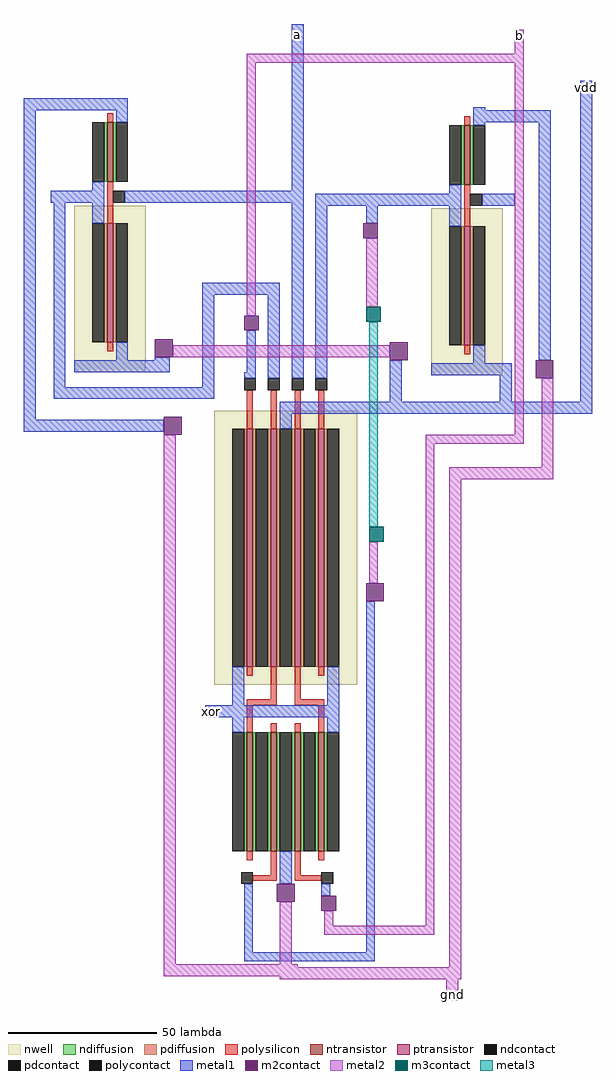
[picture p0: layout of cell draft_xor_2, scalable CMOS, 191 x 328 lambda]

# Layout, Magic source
magic
tech scmos
<< nwell >>
rect -58 480 -34 536
rect 62 479 86 535
rect -11 375 37 467
<< ntransistor >>
rect -47 544 -45 564
rect 73 543 75 563
rect 0 319 2 359
rect 8 319 10 359
rect 16 319 18 359
rect 24 319 26 359
<< ptransistor >>
rect -47 490 -45 530
rect 73 489 75 529
rect 0 381 2 461
rect 8 381 10 461
rect 16 381 18 461
rect 24 381 26 461
<< ndiffusion >>
rect -48 544 -47 564
rect -45 544 -44 564
rect 72 543 73 563
rect 75 543 76 563
rect -1 319 0 359
rect 2 319 3 359
rect 7 319 8 359
rect 10 319 11 359
rect 15 319 16 359
rect 18 319 19 359
rect 23 319 24 359
rect 26 319 27 359
<< pdiffusion >>
rect -48 490 -47 530
rect -45 490 -44 530
rect 72 489 73 529
rect 75 489 76 529
rect -1 381 0 461
rect 2 381 3 461
rect 7 381 8 461
rect 10 381 11 461
rect 15 381 16 461
rect 18 381 19 461
rect 23 381 24 461
rect 26 381 27 461
<< ndcontact >>
rect -52 544 -48 564
rect -44 544 -40 564
rect 68 543 72 563
rect 76 543 80 563
rect -5 319 -1 359
rect 3 319 7 359
rect 11 319 15 359
rect 19 319 23 359
rect 27 319 31 359
<< pdcontact >>
rect -52 490 -48 530
rect -44 490 -40 530
rect 68 489 72 529
rect 76 489 80 529
rect -5 381 -1 461
rect 3 381 7 461
rect 11 381 15 461
rect 19 381 23 461
rect 27 381 31 461
<< polysilicon >>
rect -47 564 -45 567
rect 73 563 75 566
rect -47 530 -45 544
rect 73 529 75 543
rect -47 487 -45 490
rect 73 486 75 489
rect 0 461 2 474
rect 8 461 10 474
rect 16 461 18 474
rect 24 461 26 474
rect 0 378 2 381
rect 8 370 10 381
rect 0 368 10 370
rect 16 370 18 381
rect 24 378 26 381
rect 16 368 26 370
rect 0 359 2 368
rect 8 359 10 362
rect 16 359 18 362
rect 24 359 26 368
rect 0 316 2 319
rect 8 311 10 319
rect 2 309 10 311
rect 16 311 18 319
rect 24 316 26 319
rect 16 309 25 311
<< polycontact >>
rect -45 537 -41 541
rect 75 536 79 540
rect -1 474 3 478
rect 7 474 11 478
rect 15 474 19 478
rect 23 474 27 478
rect -2 308 2 312
rect 25 308 29 312
<< metal1 >>
rect -75 568 -40 572
rect -75 464 -71 568
rect -44 564 -40 568
rect -52 541 -48 544
rect 15 541 19 597
rect 76 568 80 569
rect 76 564 102 568
rect 76 563 80 564
rect -66 537 -48 541
rect -41 537 19 541
rect 68 540 72 543
rect -65 475 -61 537
rect -52 530 -48 537
rect -15 506 11 510
rect -44 484 -40 490
rect -31 484 -26 485
rect -58 480 -26 484
rect -15 475 -11 506
rect 0 480 3 494
rect -65 471 -11 475
rect -1 478 3 480
rect 7 478 11 506
rect 15 478 19 537
rect 23 536 72 540
rect 79 536 90 540
rect 23 478 27 536
rect 40 530 44 536
rect 68 529 72 536
rect 48 470 52 484
rect 76 483 80 489
rect 98 484 102 564
rect 62 479 89 483
rect 85 470 89 479
rect 112 470 116 578
rect 11 466 116 470
rect -75 460 -28 464
rect 11 461 15 466
rect -5 368 -1 381
rect 27 368 31 381
rect -14 364 31 368
rect -5 359 -1 364
rect 27 359 31 364
rect 11 308 15 319
rect -1 285 2 308
rect 25 304 28 308
rect 40 285 43 403
rect -1 282 43 285
<< m2contact >>
rect -31 485 -25 491
rect -1 494 4 499
rect 39 525 44 530
rect 48 484 54 490
rect 97 478 103 484
rect -28 459 -22 465
rect 40 403 46 409
rect 10 302 16 308
rect 25 299 30 304
<< metal2 >>
rect 90 587 93 595
rect 0 584 93 587
rect 0 499 3 584
rect 40 502 44 525
rect -25 485 48 489
rect 90 459 93 584
rect -28 281 -24 459
rect 60 456 93 459
rect 41 409 44 423
rect 11 281 15 302
rect 26 294 29 299
rect 60 294 63 456
rect 99 448 103 478
rect 26 291 63 294
rect 68 444 103 448
rect -28 280 17 281
rect 68 280 72 444
rect -28 277 72 280
rect 11 276 72 277
rect 67 269 71 276
<< m3contact >>
rect 40 497 45 502
rect 41 423 46 428
<< metal3 >>
rect 41 428 44 497
<< labels >>
rlabel metal2 67 269 71 273 1 gnd
rlabel metal1 15 591 19 596 1 a
rlabel metal1 112 573 116 578 7 vdd
rlabel metal1 -14 364 -10 368 1 xor
rlabel metal2 90 591 93 595 5 b
<< end >>
